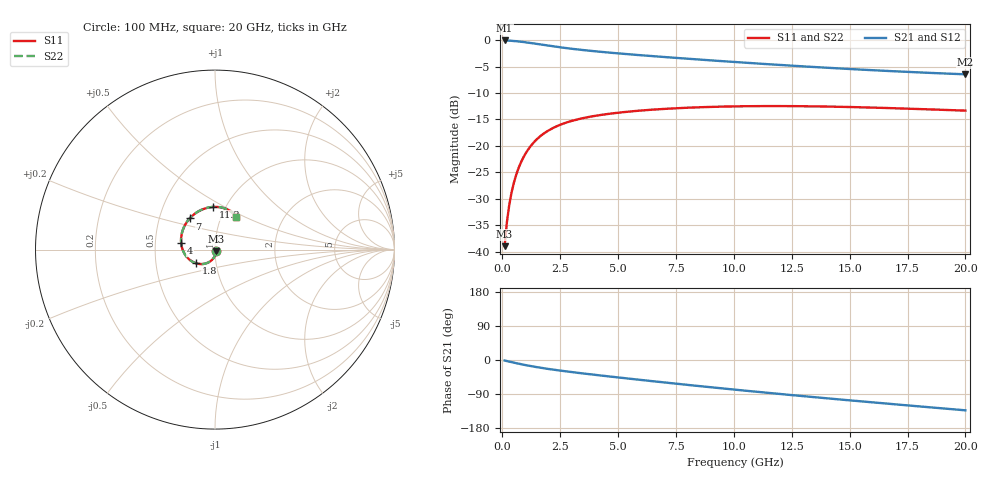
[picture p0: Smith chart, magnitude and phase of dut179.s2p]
! Touchstone file exported from HFSS 2024.1.0
!  File:  C:/UserFiles/LocalFiles/RDL_TSV_Batchsim/temp_RDL_TSV_179_1779438501.aedt
!  Generated:  04:43:00 PM May 22, 2026
!  Design:  RDL_TSV
!  Project:  temp_RDL_TSV_179_1779438501
!  Setup:  Setup1
!  Solution:  Sweep
! Variables:
!  dtsv = 14.32um
!  hbump = 3um
!  htsv = 90.35um
!  ldown = 200.6um
!  lrdl = 183.33um
!  p = 40
!  p1 = 42.65um
!  rhole = 10um
!  subl = 1335.12um
!  t = 450um
!  tdown = 4.58um
!  trdl = 4.22um
!  viad = 10um
!  wdown = 12.5um
!  wrdl = 23.86um
!  xbump = 18um
# GHz S MA R 50.000000
! Terminal data exported
! Port[1] = TM1_1_T1
! Port[2] = TM1_4_T1
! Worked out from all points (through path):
!   200 points, 100 MHz to 20 GHz, reference 50 ohm
!   highest |S21| = -0.07 dB at 100 MHz (marker M1); lowest = -6.5 dB at 20 GHz (marker M2)
!   group delay of S21, straight-line fit = 17.3 ps
!   lowest |S11| = -39.0 dB at 100 MHz (marker M3), VSWR 1.02, Z = 50.7 - j0.929 ohm
!   |S11| at or under -10 dB: start of sweep to end of sweep
!   |S22| runs from -39.0 to -12.5 dB; largest |S21 - S12| = 8.9e-15
!   S11 on the Smith chart (normalised r, x): 100 MHz: 1.01, -0.02; 1.8 GHz: 0.80, -0.12; 4 GHz: 0.68, +0.05; 7 GHz: 0.71, +0.26; 11.3 GHz: 0.88, +0.44; 20 GHz: 1.18, +0.44
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0.1  0.01128 -54.4  0.9924 -1.4  0.9924 -1.4  0.01128 -54.4
! Gamma 0 0 0 0
! Port Impedance 50 0 50 0
0.2  0.01911 -74.4  0.9907 -2.9  0.9907 -2.9  0.01911 -74.4
0.3  0.02765 -84.7  0.9882 -4.3  0.9882 -4.3  0.02765 -84.7
0.4  0.03632 -91.9  0.9849 -5.7  0.9849 -5.7  0.03632 -91.9
0.5  0.04492 -97.7  0.981 -7.0  0.981 -7.0  0.04492 -97.7
0.6  0.05334 -102.7  0.9765 -8.4  0.9765 -8.4  0.05333 -102.7
0.8  0.06943 -111.5  0.966 -10.9  0.966 -10.9  0.06943 -111.6
1.1  0.09133 -122.9  0.9473 -14.6  0.9473 -14.6  0.09133 -123.0
1.4  0.1103 -133.0  0.9268 -17.9  0.9268 -17.9  0.1103 -133.0
1.8  0.1313 -144.8  0.8991 -21.9  0.8991 -21.9  0.1313 -144.8
2.5  0.1583 -162.4  0.855 -28.0  0.855 -28.0  0.1583 -162.4
3.5  0.1833 177.4  0.8048 -35.6  0.8048 -35.6  0.1833 177.4
4  0.1922 168.8  0.7843 -39.1  0.7843 -39.1  0.1923 168.8
5.2  0.2082 150.9  0.7428 -47.4  0.7428 -47.4  0.2083 150.9
6.8  0.2224 131.2  0.6971 -58.0  0.6971 -58.0  0.2226 131.2
7  0.2238 129.0  0.6919 -59.3  0.6919 -59.3  0.224 129.0
8.5  0.2318 114.1  0.655 -68.8  0.655 -68.8  0.2321 114.1
10.1  0.2366 100.7  0.6195 -78.6  0.6195 -78.6  0.2369 100.7
11.3  0.2379 92.1  0.5953 -85.7  0.5953 -85.7  0.2383 92.1
13.4  0.2366 79.6  0.5577 -97.7  0.5577 -97.7  0.2371 79.5
16.7  0.2279 65.3  0.5102 -115.6  0.5102 -115.6  0.2284 65.3
20  0.2155 56.5  0.4749 -132.8  0.4749 -132.8  0.2161 56.5
